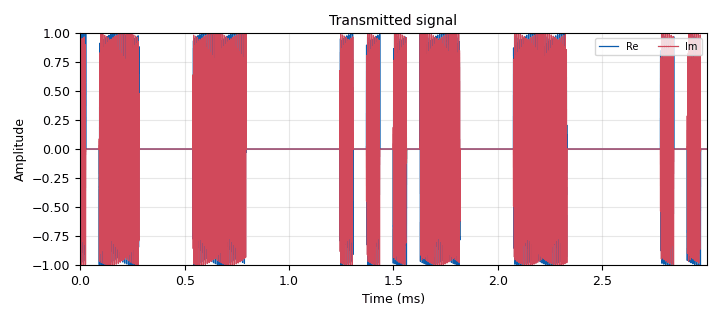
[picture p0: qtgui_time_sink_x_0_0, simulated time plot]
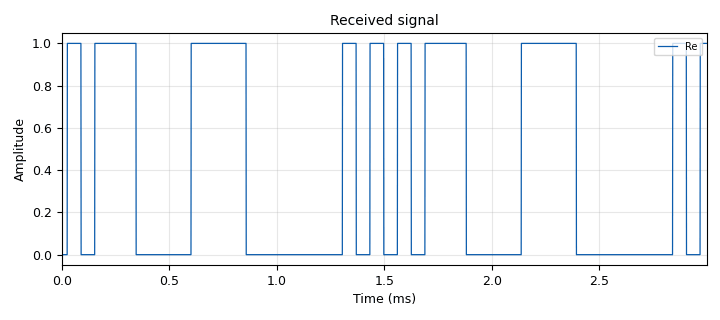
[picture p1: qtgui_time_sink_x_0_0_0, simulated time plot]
options:
  parameters:
    generate_options: qt_gui
    id: OOK_Rx_simulator
    output_language: python
    title: Simulate OOK decoding
  states: {}

blocks:
- name: freq
  id: variable
  parameters:
    value: 223e3
  states: {}
- name: samp_rate
  id: variable
  parameters:
    value: 1e6
  states: {}
- name: samps_per_sym
  id: variable
  parameters:
    value: '64'
  states: {}
- name: analog_sig_source_x_0
  id: analog_sig_source_x
  parameters:
    amp: '1'
    freq: freq
    offset: '0'
    phase: '0'
    samp_rate: samp_rate
    type: complex
    waveform: analog.GR_COS_WAVE
  states: {}
- name: blocks_complex_to_mag_0
  id: blocks_complex_to_mag
  parameters: {}
  states: {}
- name: blocks_keep_one_in_n_0
  id: blocks_keep_one_in_n
  parameters:
    n: samps_per_sym
    type: float
  states: {}
- name: blocks_multiply_xx_0
  id: blocks_multiply_xx
  parameters:
    type: complex
  states: {}
- name: blocks_repeat_0
  id: blocks_repeat
  parameters:
    interp: samps_per_sym
    type: complex
  states: {}
- name: blocks_throttle_0
  id: blocks_throttle
  parameters:
    samples_per_second: samp_rate
    type: complex
  states: {}
- name: blocks_vector_source_x_0
  id: blocks_vector_source_x
  parameters:
    repeat: 'True'
    type: complex
    vector: (0, 1, 0, 1, 0, 1, 0, 1, 1, 1, 0, 0, 0, 0, 1, 1, 1, 1, 0, 0, 0, 0, 0, 0)
  states: {}
- name: qtgui_time_sink_x_0_0
  id: qtgui_time_sink_x
  parameters:
    entags: 'False'
    gui_hint: 0,0,1,2
    label1: Re
    label2: Im
    name: '"Transmitted signal"'
    size: '3000'
    srate: samp_rate
    tr_delay: '25e-6'
    tr_level: '0.5'
    tr_mode: qtgui.TRIG_MODE_NORM
    type: complex
  states: {}
- name: qtgui_time_sink_x_0_0_0
  id: qtgui_time_sink_x
  parameters:
    autoscale: 'True'
    gui_hint: 1,0,1,2
    label1: Re
    name: '"Received signal"'
    size: '3000'
    srate: samp_rate
    tr_delay: '25e-6'
    tr_level: '0.5'
    tr_mode: qtgui.TRIG_MODE_NORM
    type: float
  states: {}
- name: qtgui_time_sink_x_0_0_0_0
  id: qtgui_time_sink_x
  parameters:
    axislabels: 'False'
    entags: 'False'
    gui_hint: 2,0,1,2
    label1: Re
    marker1: '0'
    name: '"Received bits"'
    size: '70'
    srate: samp_rate
    stemplot: 'True'
    tr_delay: 7e6
    tr_level: '0.5'
    tr_mode: qtgui.TRIG_MODE_NORM
    type: float
    ymax: '1.1'
    ymin: '-0.1'
  states: {}

connections:
- [analog_sig_source_x_0, '0', blocks_multiply_xx_0, '1']
- [analog_sig_source_x_0, '0', blocks_throttle_0, '0']
- [blocks_complex_to_mag_0, '0', blocks_keep_one_in_n_0, '0']
- [blocks_complex_to_mag_0, '0', qtgui_time_sink_x_0_0_0, '0']
- [blocks_keep_one_in_n_0, '0', qtgui_time_sink_x_0_0_0_0, '0']
- [blocks_multiply_xx_0, '0', blocks_complex_to_mag_0, '0']
- [blocks_multiply_xx_0, '0', qtgui_time_sink_x_0_0, '0']
- [blocks_repeat_0, '0', blocks_multiply_xx_0, '0']
- [blocks_vector_source_x_0, '0', blocks_repeat_0, '0']

metadata:
  file_format: 1
